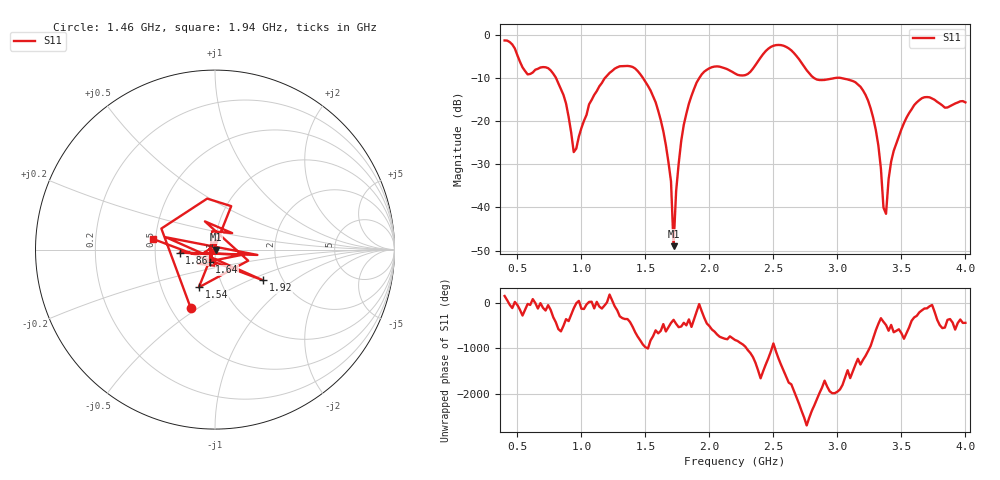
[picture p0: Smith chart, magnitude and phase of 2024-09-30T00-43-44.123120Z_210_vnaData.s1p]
!Created with skrf (http://scikit-rf.org).
# Hz S RI R 50.0
!freq ReS11 ImS11
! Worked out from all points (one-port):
!   181 points, 400 MHz to 4 GHz, reference 50 ohm
!   lowest |S11| = -49.0 dB at 1.72 GHz (marker M1), VSWR 1.01, Z = 50.3 - j0.116 ohm
!   |S11| at or under -10 dB: 802.8 MHz to 1.182 GHz (378.9 MHz wide, 38.2 % of centre); 1.483 GHz to 1.92 GHz (437 MHz wide, 25.7 % of centre); 3.04 GHz to end of sweep (the widest 3 of 4)
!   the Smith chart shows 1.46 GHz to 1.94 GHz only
!   S11 on the Smith chart (normalised r, x): 1.46 GHz: 0.63, -0.47; 1.54 GHz: 0.77, -0.34; 1.64 GHz: 0.93, -0.13; 1.86 GHz: 0.67, -0.02; 1.92 GHz: 1.59, -0.60; 1.94 GHz: 0.48, +0.07
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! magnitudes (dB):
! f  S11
! 400 MHz  -1.2
! 860 MHz  -13.9
! 940 MHz  -27.1
! 1.06 GHz  -16.0
! 1.3 GHz  -7.2
! 1.46 GHz  -9.0
! 1.54 GHz  -12.8
! 1.64 GHz  -22.3
! 1.7 GHz  -33.9
! 1.72 GHz  -49.0
! 1.74 GHz  -36.2
! 1.76 GHz  -29.8
! 1.86 GHz  -14.1
! 1.92 GHz  -10.0
! 1.94 GHz  -9.1
! 2.2 GHz  -8.9
! 2.5 GHz  -2.4
! 2.66 GHz  -4.1
! 2.84 GHz  -10.3
! 3.1 GHz  -10.4
! 3.28 GHz  -19.2
! 3.32 GHz  -25.6
! 3.36 GHz  -40.0
! 3.38 GHz  -41.5
! 3.42 GHz  -29.3
! 3.56 GHz  -18.1
! 3.68 GHz  -14.4
! 4 GHz  -15.6
